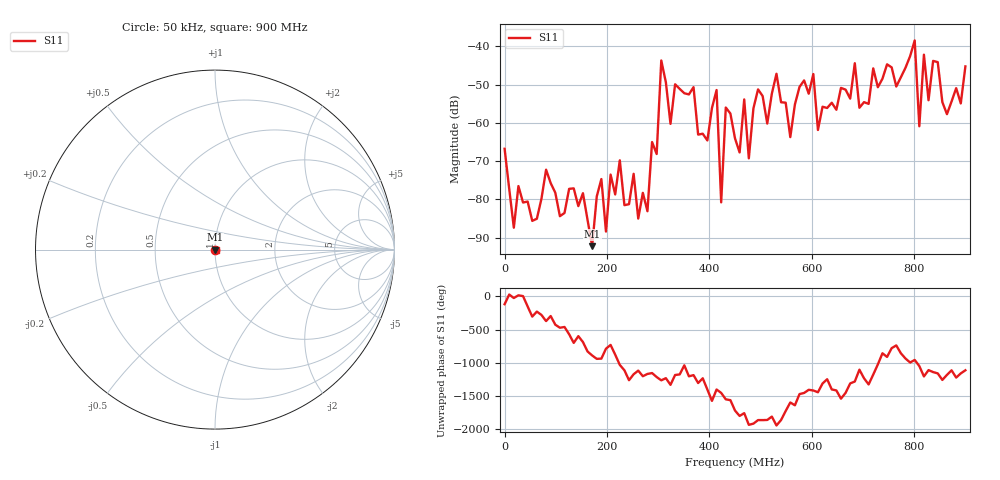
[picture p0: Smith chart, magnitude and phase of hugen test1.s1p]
! File created by NanoVNA (https://gen111.taobao.com/)
! Start 50000Hz  Stop 900000000Hz  Points 101
# HZ S MA R 50
!S - Parameter data, F S11
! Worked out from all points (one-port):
!   101 points, 50 kHz to 900 MHz, reference 50 ohm
!   lowest |S11| = -92.3 dB at 171 MHz (marker M1), VSWR 1.00, Z = 50 - j0.000515 ohm
!   |S11| at or under -10 dB: start of sweep to end of sweep
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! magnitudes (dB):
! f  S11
! 50 kHz  -66.8
! 18.05 MHz  -87.4
! 117 MHz  -83.6
! 171 MHz  -92.3
! 225 MHz  -69.8
! 279 MHz  -83.1
! 297 MHz  -68.2
! 306 MHz  -43.7
! 324 MHz  -60.3
! 342 MHz  -51.1
! 396 MHz  -64.6
! 414 MHz  -51.4
! 423 MHz  -80.8
! 432 MHz  -56.0
! 450 MHz  -64.1
! 468 MHz  -53.9
! 477 MHz  -69.3
! 495 MHz  -51.3
! 513 MHz  -60.2
! 531 MHz  -47.2
! 567 MHz  -55.2
! 675 MHz  -53.7
! 792 MHz  -42.6
! 801 MHz  -38.5
! 810 MHz  -60.9
! 819 MHz  -42.2
! 864 MHz  -57.7
! 900 MHz  -45.2
